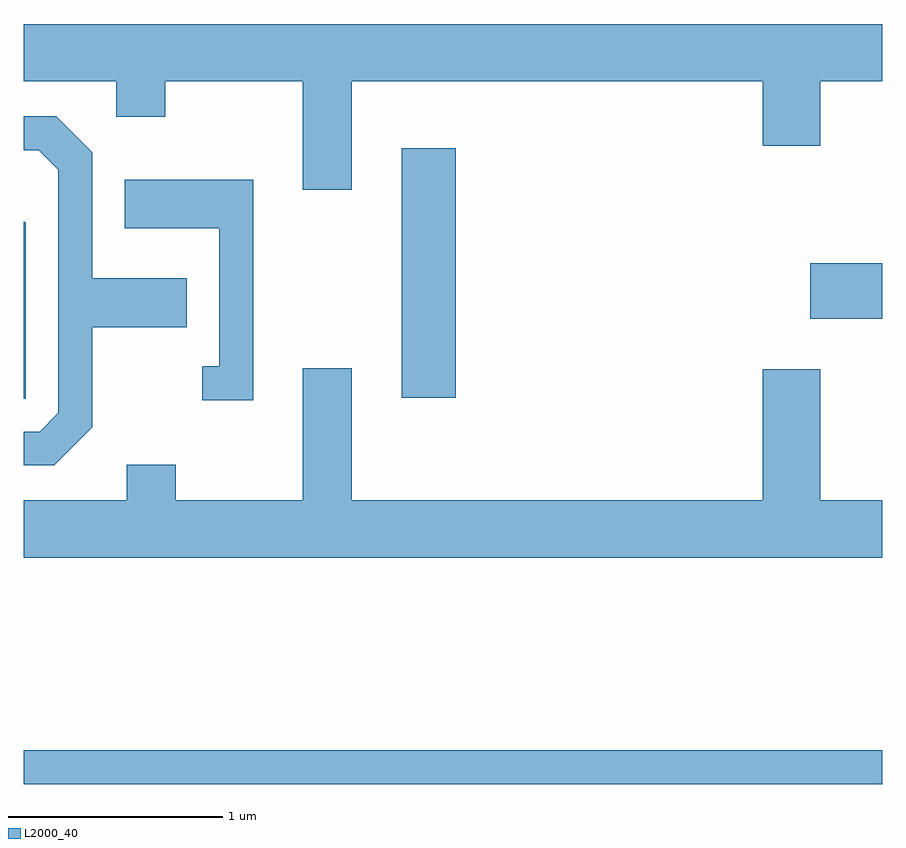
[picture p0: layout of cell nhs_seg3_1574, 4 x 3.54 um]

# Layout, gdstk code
import gdstk
lib = gdstk.Library(unit=1e-6, precision=1e-09)
def R(c, l, rs):  # rectangles x0, y0, x1, y1
    for r in rs: c.add(gdstk.rectangle(r[:2], r[2:], *l))
def P(c, l, *ps):  # polygons
    for p in ps: c.add(gdstk.Polygon(p, *l))
L2000_40 = (2000, 40)

nhs_seg3_1574 = lib.new_cell('nhs_seg3_1574')
R(nhs_seg3_1574, L2000_40, [(231.611,1136.061,235.611,1136.219), (233.371,1137.861,233.624,1139.024), (235.276,1138.231,235.611,1138.489)])
P(nhs_seg3_1574, L2000_40, [(233.139,1139.336),(235.056,1139.336),(235.056,1139.036),(235.324,1139.036),(235.324,1139.336),(235.611,1139.336),(235.611,1139.604),(231.611,1139.604),(231.611,1139.336),(232.041,1139.336),(232.041,1139.171),(232.269,1139.171),(232.269,1139.336),(232.911,1139.336),(232.911,1138.831),(233.139,1138.831)],
  [(231.929,1137.724),(231.929,1138.191),(232.369,1138.191),(232.369,1138.419),(231.929,1138.419),(231.929,1139.007),(231.762,1139.174),(231.611,1139.174),(231.611,1139.016),(231.679,1139.016),(231.771,1138.924),(231.771,1137.792),(231.684,1137.704),(231.611,1137.704),(231.611,1137.546),(231.752,1137.546)],
  [(232.679,1138.879),(232.081,1138.879),(232.081,1138.651),(232.521,1138.651),(232.521,1138.009),(232.443,1138.009),(232.443,1137.851),(232.679,1137.851)],
  [(231.619,1138.677),(231.611,1138.685),(231.611,1137.856),(231.619,1137.856)],
  [(235.611,1137.384),(235.324,1137.384),(235.324,1137.994),(235.056,1137.994),(235.056,1137.384),(233.139,1137.384),(233.139,1137.999),(232.911,1137.999),(232.911,1137.384),(232.319,1137.384),(232.319,1137.549),(232.091,1137.549),(232.091,1137.384),(231.611,1137.384),(231.611,1137.116),(235.611,1137.116)])

lib.write_gds('nhs_seg3_1574.gds')
